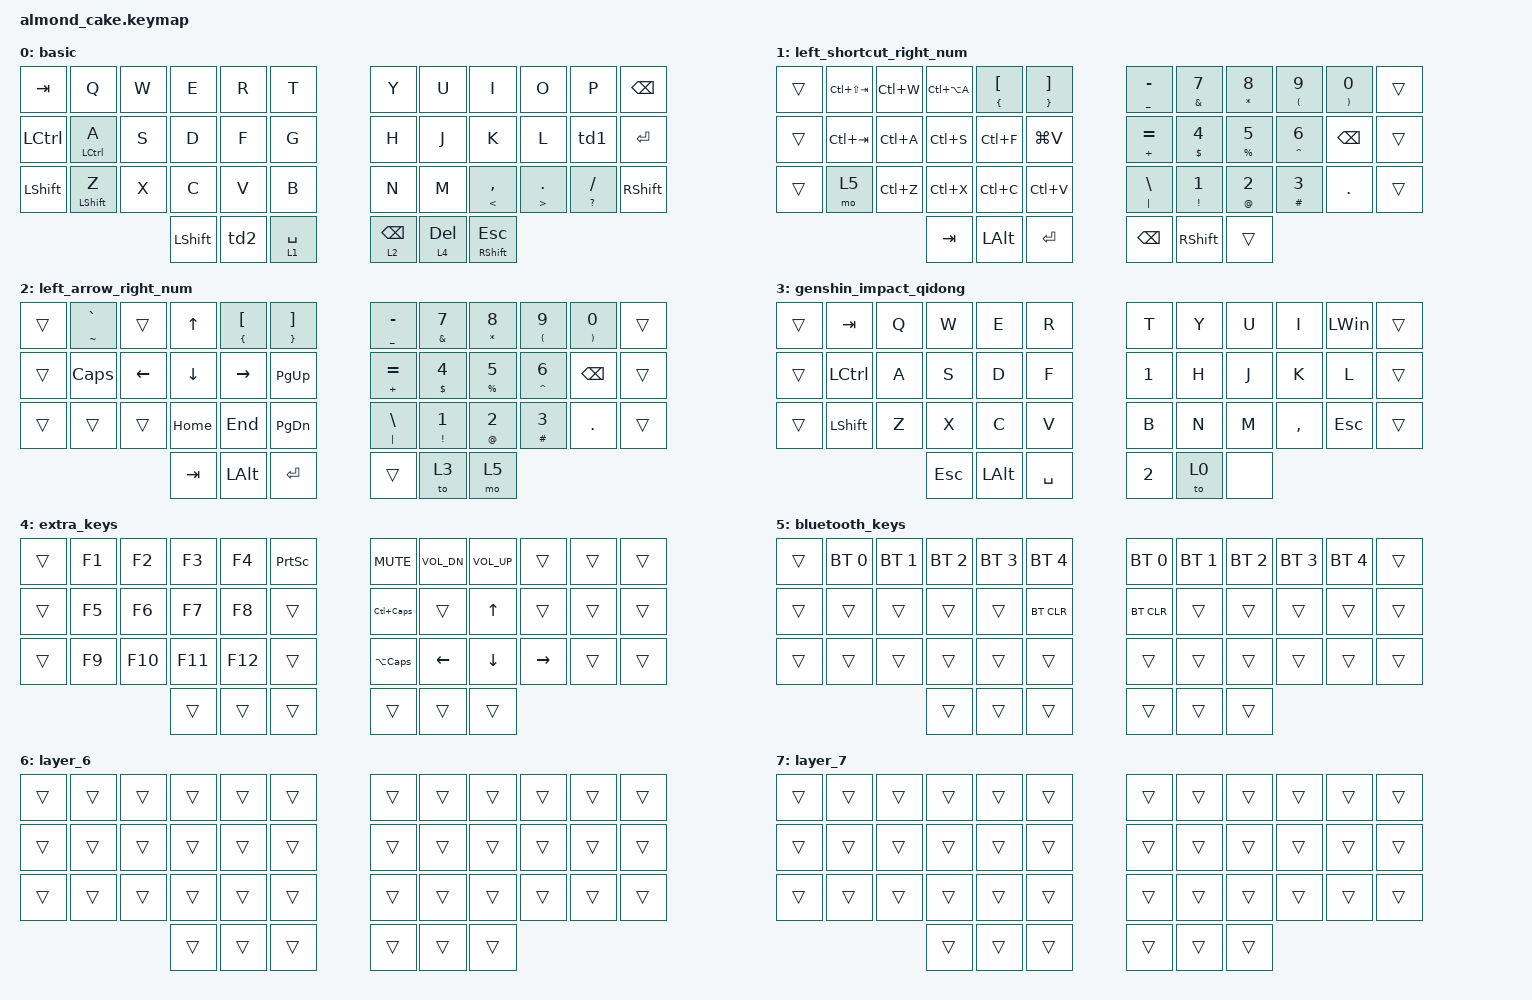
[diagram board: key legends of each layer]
/*
 * Copyright (c) 2020 The ZMK Contributors
 *
 * SPDX-License-Identifier: MIT
 */

#include <behaviors.dtsi>
#include <dt-bindings/zmk/bt.h>
#include <dt-bindings/zmk/keys.h>

&mt {
    tapping-term-ms = <200>;
    flavor = "tap-preferred";
};

&sk {
    release-after-ms = <2000>;
    quick-release;
};



/ {
    combos {
        compatible = "zmk,combos";

        ENT {
            bindings = <&kp ENTER>;
            key-positions = <19 20>;
            timeout-ms = <50>;
        };

        BACKSP {
            bindings = <&kp BACKSPACE>;
            key-positions = <7 8>;
        };

        DELT {
            bindings = <&kp DELETE>;
            key-positions = <8 9>;
        };

        CTL {
            bindings = <&kp LCTRL>;
            key-positions = <21 22>;
        };

        AL {
            bindings = <&kp LEFT_ALT>;
            key-positions = <20 21>;
        };
    };

    behaviors {
        hm: homerow_mods {
            compatible = "zmk,behavior-hold-tap";
            label = "HOMEROW_MODS";
            #binding-cells = <2>;
            tapping-term-ms = <200>;
            quick_tap_ms = <0>;
            flavor = "tap-preferred";
            bindings = <&kp>, <&kp>;

            quick-tap-ms = <0>;
            global-quick-tap;
        };

        ltq: ltq {
            compatible = "zmk,behavior-hold-tap";
            label = "LTQ";
            #binding-cells = <2>;
            tapping-term-ms = <200>;
            quick_tap_ms = <0>;
            flavor = "tap-preferred";
            bindings = <&mo>, <&kp>;

            quick-tap-ms = <0>;
            global-quick-tap;
        };

        td0: tap_dance_tab_gui {
            compatible = "zmk,behavior-tap-dance";
            #binding-cells = <0>;
            tapping-term-ms = <200>;
            bindings = <&kp TAB>, <&kp LEFT_GUI>;

            label = "tab_gui";
        };

        td1: tap_dance_semi_quo {
            compatible = "zmk,behavior-tap-dance";
            label = "semi_quo";
            #binding-cells = <0>;
            bindings = <&as COLON SEMICOLON>, <&as DOUBLE_QUOTES SQT>;
        };

        td2: tap_dance_gui_mo2 {
            compatible = "zmk,behavior-tap-dance";
            label = "gui_mo2";
            #binding-cells = <0>;
            bindings = <&kp LWIN>, <&mo 2>;
        };

        as: auto_shift {
            compatible = "zmk,behavior-hold-tap";
            label = "AUTO_SHIFT";
            bindings = <&kp>, <&kp>;

            #binding-cells = <2>;
            tapping-term-ms = <150>;
            quick-tap-ms = <0>;
            flavor = "tap-preferred";
        };
    };

    keymap {
        compatible = "zmk,keymap";

        basic {
            bindings = <
&kp TAB         &kp Q             &kp W  &kp E           &kp R  &kp T         &kp Y        &kp U       &kp I                &kp O                    &kp P               &kp BSPC
&kp LCTRL       &hm LCTRL A       &kp S  &kp D           &kp F  &kp G         &kp H        &kp J       &kp K                &kp L                    &td1                &kp ENTER
&kp LEFT_SHIFT  &hm LEFT_SHIFT Z  &kp X  &kp C           &kp V  &kp B         &kp N        &kp M       &as LESS_THAN COMMA  &as GREATER_THAN PERIOD  &as QUESTION SLASH  &kp RIGHT_SHIFT
                                         &kp LEFT_SHIFT  &td2   &ltq 1 SPACE  &ltq 2 BSPC  &ltq 4 DEL  &hm RIGHT_SHIFT ESC
            >;
        };

        left_shortcut_right_num {
            bindings = <
&trans  &kp LC(LS(TAB))  &kp LC(W)  &kp LC(LA(A))  &as LEFT_BRACE LEFT_BRACKET  &as RIGHT_BRACE RIGHT_BRACKET  &as UNDERSCORE MINUS  &as AMPERSAND N7     &as ASTERISK N8       &as LEFT_PARENTHESIS N9  &as RIGHT_PARENTHESIS N0  &trans
&trans  &kp LC(TAB)      &kp LC(A)  &kp LC(S)      &kp LC(F)                    &kp LG(V)                      &as PLUS EQUAL        &as DOLLAR NUMBER_4  &as PERCENT N5        &as CARET N6             &kp BSPC                  &trans
&trans  &mo 5            &kp LC(Z)  &kp LC(X)      &kp LC(C)                    &kp LC(V)                      &as PIPE BACKSLASH    &as EXCLAMATION N1   &as AT_SIGN NUMBER_2  &as HASH NUMBER_3        &kp DOT                   &trans
                                    &kp TAB        &kp LALT                     &kp ENTER                      &kp BSPC              &kp RSHFT            &trans
            >;
        };

        left_arrow_right_num {
            bindings = <
&trans  &as TILDE GRAVE  &trans          &kp UP    &as LEFT_BRACE LEFT_BRACKET  &as RIGHT_BRACE RIGHT_BRACKET  &as UNDERSCORE MINUS  &as AMPERSAND N7          &as ASTERISK N8       &as LEFT_PARENTHESIS N9  &as RIGHT_PARENTHESIS N0  &trans
&trans  &kp CAPSLOCK     &kp LEFT_ARROW  &kp DOWN  &kp RIGHT                    &kp PAGE_UP                    &as PLUS EQUAL        &as DOLLAR N4             &as PERCENT N5        &as CARET N6             &kp BSPC                  &trans
&trans  &trans           &trans          &kp HOME  &kp END                      &kp PAGE_DOWN                  &as PIPE BACKSLASH    &as EXCLAMATION NUMBER_1  &as AT_SIGN NUMBER_2  &as HASH NUMBER_3        &kp DOT                   &trans
                                         &kp TAB   &kp LALT                     &kp ENTER                      &trans                &to 3                     &mo 5
            >;
        };

        genshin_impact_qidong {
            bindings = <
&trans  &kp TAB    &kp Q  &kp W    &kp E         &kp R      &kp T         &kp Y  &kp U  &kp I      &kp LWIN  &trans
&trans  &kp LCTRL  &kp A  &kp S    &kp D         &kp F      &kp NUMBER_1  &kp H  &kp J  &kp K      &kp L     &trans
&trans  &kp LSHFT  &kp Z  &kp X    &kp C         &kp V      &kp B         &kp N  &kp M  &kp COMMA  &kp ESC   &trans
                          &kp ESC  &kp LEFT_ALT  &kp SPACE  &kp NUMBER_2  &to 0  &none
            >;
        };

        extra_keys {
            bindings = <
&trans  &kp F1  &kp F2   &kp F3   &kp F4   &kp PRINTSCREEN  &kp C_MUTE        &kp C_VOL_DN  &kp C_VOL_UP    &trans     &trans  &trans
&trans  &kp F5  &kp F6   &kp F7   &kp F8   &trans           &kp LC(CAPSLOCK)  &trans        &kp UP          &trans     &trans  &trans
&trans  &kp F9  &kp F10  &kp F11  &kp F12  &trans           &kp LA(CAPSLOCK)  &kp LEFT      &kp DOWN_ARROW  &kp RIGHT  &trans  &trans
                         &trans   &trans   &trans           &trans            &trans        &trans
            >;
        };

        bluetooth_keys {
            bindings = <
&trans  &bt BT_SEL 0  &bt BT_SEL 1  &bt BT_SEL 2  &bt BT_SEL 3  &bt BT_SEL 4  &bt BT_SEL 0  &bt BT_SEL 1  &bt BT_SEL 2  &bt BT_SEL 3  &bt BT_SEL 4  &trans
&trans  &trans        &trans        &trans        &trans        &bt BT_CLR    &bt BT_CLR    &trans        &trans        &trans        &trans        &trans
&trans  &trans        &trans        &trans        &trans        &trans        &trans        &trans        &trans        &trans        &trans        &trans
                                    &trans        &trans        &trans        &trans        &trans        &trans
            >;
        };

        layer_6 {
            bindings = <
&trans  &trans  &trans  &trans  &trans  &trans  &trans  &trans  &trans  &trans  &trans  &trans
&trans  &trans  &trans  &trans  &trans  &trans  &trans  &trans  &trans  &trans  &trans  &trans
&trans  &trans  &trans  &trans  &trans  &trans  &trans  &trans  &trans  &trans  &trans  &trans
                        &trans  &trans  &trans  &trans  &trans  &trans
            >;
        };

        layer_7 {
            bindings = <
&trans  &trans  &trans  &trans  &trans  &trans  &trans  &trans  &trans  &trans  &trans  &trans
&trans  &trans  &trans  &trans  &trans  &trans  &trans  &trans  &trans  &trans  &trans  &trans
&trans  &trans  &trans  &trans  &trans  &trans  &trans  &trans  &trans  &trans  &trans  &trans
                        &trans  &trans  &trans  &trans  &trans  &trans
            >;
        };
    };
};
